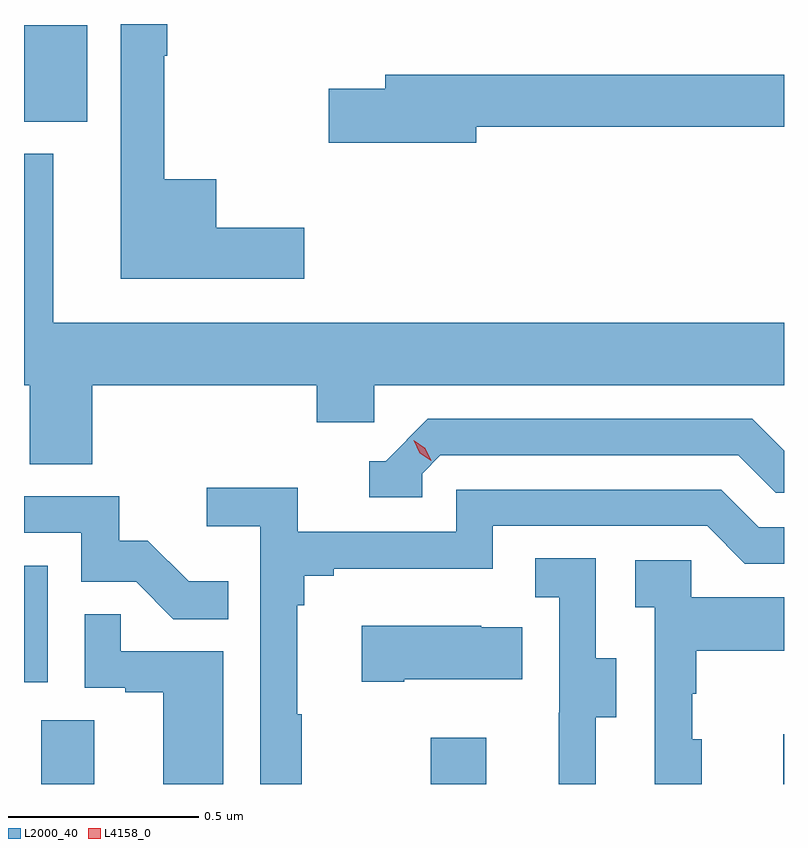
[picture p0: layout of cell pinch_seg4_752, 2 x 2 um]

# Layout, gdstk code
import gdstk
lib = gdstk.Library(unit=1e-6, precision=1e-09)
def R(c, l, rs):  # rectangles x0, y0, x1, y1
    for r in rs: c.add(gdstk.rectangle(r[:2], r[2:], *l))
def P(c, l, *ps):  # polygons
    for p in ps: c.add(gdstk.Polygon(p, *l))
L2000_40 = (2000, 40)
L4158_0 = (4158, 0)

pinch_seg4_752 = lib.new_cell('pinch_seg4_752')
R(pinch_seg4_752, L2000_40, [(876.533,827.738,876.673,827.906), (877.558,827.738,877.705,827.86), (878.486,827.738,878.488,827.869), (876.488,828.006,876.55,828.313), (876.488,829.481,876.655,829.735)])
P(pinch_seg4_752, L2000_40, [(877.225,829.202),(876.994,829.202),(876.994,829.33),(876.857,829.33),(876.857,829.655),(876.865,829.655),(876.865,829.738),(876.743,829.738),(876.743,829.067),(877.225,829.067)],
  [(877.678,829.468),(878.488,829.468),(878.488,829.604),(877.439,829.604),(877.439,829.568),(877.29,829.568),(877.29,829.426),(877.678,829.426)],
  [(876.668,828.788),(877.259,828.788),(877.259,828.69),(877.41,828.69),(877.41,828.788),(878.488,828.788),(878.488,828.952),(876.565,828.952),(876.565,829.396),(876.488,829.396),(876.488,828.788),(876.503,828.788),(876.503,828.58),(876.668,828.58)],
  [(877.536,828.555),(877.584,828.603),(878.367,828.603),(878.466,828.504),(878.488,828.504),(878.488,828.615),(878.404,828.699),(877.551,828.699),(877.44,828.588),(877.397,828.588),(877.397,828.492),(877.536,828.492)],
  [(877.219,827.921),(877.207,827.921),(877.207,828.209),(877.226,828.209),(877.226,828.286),(877.303,828.286),(877.303,828.305),(877.722,828.305),(877.722,828.417),(878.286,828.417),(878.385,828.318),(878.488,828.318),(878.488,828.414),(878.422,828.414),(878.323,828.513),(877.626,828.513),(877.626,828.402),(877.208,828.402),(877.208,828.518),(876.969,828.518),(876.969,828.416),(877.11,828.416),(877.11,827.738),(877.219,827.738)],
  [(877.025,828.271),(876.921,828.271),(876.814,828.378),(876.738,828.378),(876.738,828.495),(876.488,828.495),(876.488,828.399),(876.639,828.399),(876.639,828.27),(876.783,828.27),(876.881,828.172),(877.025,828.172)],
  [(877.993,827.914),(878.047,827.914),(878.047,828.069),(877.992,828.069),(877.992,828.332),(877.833,828.332),(877.833,828.229),(877.896,828.229),(877.896,827.925),(877.895,827.925),(877.895,827.738),(877.993,827.738)],
  [(878.272,827.856),(878.247,827.856),(878.247,827.975),(878.257,827.975),(878.257,828.089),(878.488,828.089),(878.488,828.229),(878.244,828.229),(878.244,828.327),(878.097,828.327),(878.097,828.203),(878.148,828.203),(878.148,827.738),(878.272,827.738)],
  [(877.012,828.087),(876.743,828.087),(876.743,828.185),(876.648,828.185),(876.648,827.991),(876.755,827.991),(876.755,827.979),(876.854,827.979),(876.854,827.738),(877.012,827.738)],
  [(877.489,828.014),(877.799,828.014),(877.799,828.151),(877.691,828.151),(877.691,828.154),(877.377,828.154),(877.377,828.007),(877.489,828.007)])
P(pinch_seg4_752, L4158_0, [(877.56,828.589),(877.529,828.609),(877.514,828.642),(877.514,828.642),(877.514,828.642),(877.544,828.622),(877.56,828.589),(877.56,828.589)])

lib.write_gds('pinch_seg4_752.gds')
